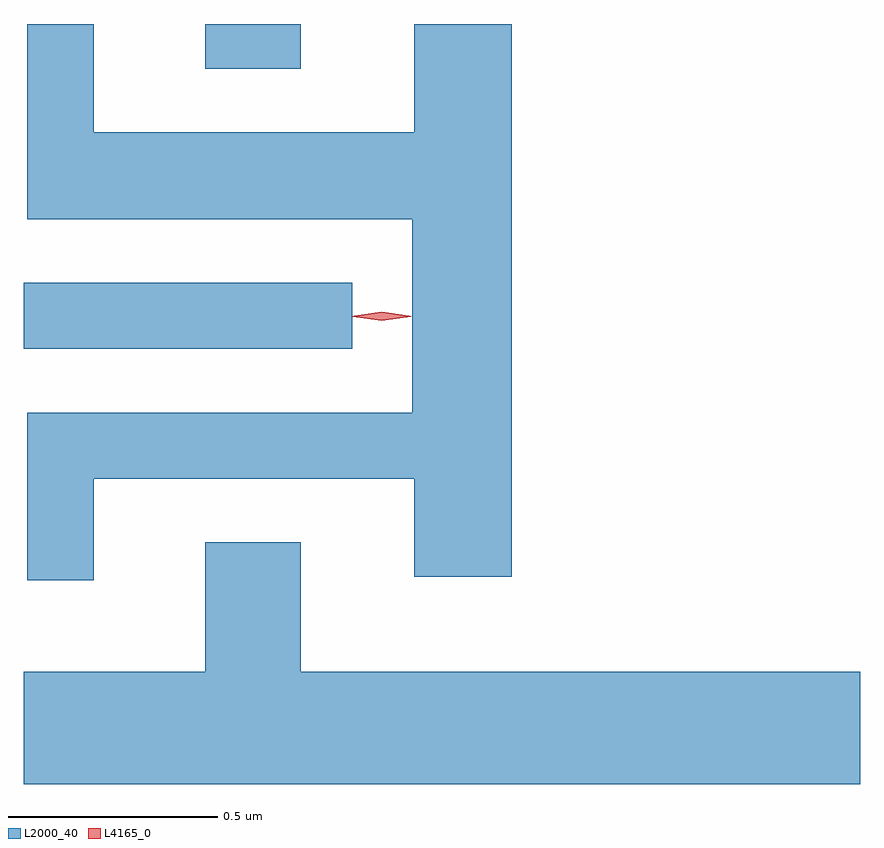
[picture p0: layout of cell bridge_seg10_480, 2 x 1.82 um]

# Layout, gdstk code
import gdstk
lib = gdstk.Library(unit=1e-6, precision=1e-09)
def R(c, l, rs):  # rectangles x0, y0, x1, y1
    for r in rs: c.add(gdstk.rectangle(r[:2], r[2:], *l))
def P(c, l, *ps):  # polygons
    for p in ps: c.add(gdstk.Polygon(p, *l))
L2000_40 = (2000, 40)
L4165_0 = (4165, 0)

bridge_seg10_480 = lib.new_cell('bridge_seg10_480')
R(bridge_seg10_480, L2000_40, [(1464.187,2117.176,1464.973,2117.334), (1464.621,2117.846,1464.849,2117.953)])
P(bridge_seg10_480, L2000_40, [(1464.354,2116.866),(1465.121,2116.866),(1465.121,2116.631),(1465.354,2116.631),(1465.354,2117.953),(1465.121,2117.953),(1465.121,2117.694),(1464.354,2117.694),(1464.354,2117.953),(1464.196,2117.953),(1464.196,2117.486),(1465.116,2117.486),(1465.116,2117.024),(1464.196,2117.024),(1464.196,2116.623),(1464.354,2116.623)],
  [(1466.187,2116.404),(1464.849,2116.404),(1464.849,2116.714),(1464.621,2116.714),(1464.621,2116.404),(1464.187,2116.404),(1464.187,2116.136),(1466.187,2116.136)])
P(bridge_seg10_480, L4165_0, [(1465.043,2117.245),(1464.977,2117.254),(1464.977,2117.255),(1464.977,2117.256),(1465.043,2117.265),(1465.109,2117.256),(1465.109,2117.255),(1465.109,2117.254)],
  [(1465.043,2117.244),(1464.974,2117.253),(1464.974,2117.254),(1464.974,2117.254),(1465.043,2117.264),(1465.112,2117.254),(1465.113,2117.254),(1465.112,2117.253)])

lib.write_gds('bridge_seg10_480.gds')
